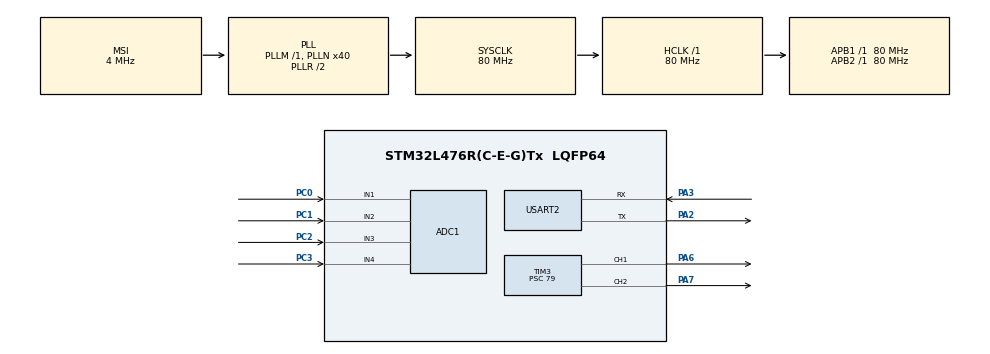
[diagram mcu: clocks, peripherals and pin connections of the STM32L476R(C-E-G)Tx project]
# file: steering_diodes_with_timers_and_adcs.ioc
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ADC1.Channel-0\#ChannelRegularConversion=ADC_CHANNEL_1
ADC1.Channel-1\#ChannelRegularConversion=ADC_CHANNEL_2
ADC1.Channel-2\#ChannelRegularConversion=ADC_CHANNEL_3
ADC1.Channel-3\#ChannelRegularConversion=ADC_CHANNEL_4
ADC1.ContinuousConvMode=ENABLE
ADC1.DMAContinuousRequests=ENABLE
ADC1.NbrOfConversion=4
ADC1.NbrOfConversionFlag=1
ADC1.OffsetNumber-0\#ChannelRegularConversion=ADC_OFFSET_NONE
ADC1.OffsetNumber-1\#ChannelRegularConversion=ADC_OFFSET_NONE
ADC1.OffsetNumber-2\#ChannelRegularConversion=ADC_OFFSET_NONE
ADC1.OffsetNumber-3\#ChannelRegularConversion=ADC_OFFSET_NONE
ADC1.OversamplingMode=ENABLE
ADC1.Rank-0\#ChannelRegularConversion=1
ADC1.Rank-1\#ChannelRegularConversion=2
ADC1.Rank-2\#ChannelRegularConversion=3
ADC1.Rank-3\#ChannelRegularConversion=4
ADC1.Ratio=ADC_OVERSAMPLING_RATIO_16
ADC1.RightBitShift=ADC_RIGHTBITSHIFT_4
ADC1.SamplingTime-0\#ChannelRegularConversion=ADC_SAMPLETIME_640CYCLES_5
ADC1.SamplingTime-1\#ChannelRegularConversion=ADC_SAMPLETIME_640CYCLES_5
ADC1.SamplingTime-2\#ChannelRegularConversion=ADC_SAMPLETIME_640CYCLES_5
ADC1.SamplingTime-3\#ChannelRegularConversion=ADC_SAMPLETIME_640CYCLES_5
ADC1.master=1
Dma.ADC1.0.Direction=DMA_PERIPH_TO_MEMORY
Dma.ADC1.0.Instance=DMA1_Channel1
Dma.ADC1.0.MemDataAlignment=DMA_MDATAALIGN_HALFWORD
Dma.ADC1.0.MemInc=DMA_MINC_ENABLE
Dma.ADC1.0.Mode=DMA_CIRCULAR
Dma.ADC1.0.PeriphDataAlignment=DMA_PDATAALIGN_HALFWORD
Dma.ADC1.0.PeriphInc=DMA_PINC_DISABLE
Dma.ADC1.0.Priority=DMA_PRIORITY_LOW
Dma.Request0=ADC1
Mcu.Family=STM32L4
Mcu.Name=STM32L476R(C-E-G)Tx
Mcu.Package=LQFP64
NVIC.PriorityGroup=NVIC_PRIORITYGROUP_4
PA13\ (JTMS-SWDIO).Mode=Serial_Wire
PA13\ (JTMS-SWDIO).Signal=SYS_JTMS-SWDIO
PA14\ (JTCK-SWCLK).Mode=Serial_Wire
PA14\ (JTCK-SWCLK).Signal=SYS_JTCK-SWCLK
PA2.Mode=Asynchronous
PA2.Signal=USART2_TX
PA3.Mode=Asynchronous
PA3.Signal=USART2_RX
PA6.Signal=S_TIM3_CH1
PA7.Signal=S_TIM3_CH2
PC0.Signal=ADCx_IN1
PC1.Signal=ADCx_IN2
PC2.Signal=ADCx_IN3
PC3.Signal=ADCx_IN4
ProjectManager.HeapSize=0x200
ProjectManager.StackSize=0x400
ProjectManager.TargetToolchain=STM32CubeIDE
RCC.ADCFreq_Value=32000000
RCC.AHBFreq_Value=80000000
RCC.APB1Freq_Value=80000000
RCC.APB1TimFreq_Value=80000000
RCC.APB2Freq_Value=80000000
RCC.APB2TimFreq_Value=80000000
RCC.CortexFreq_Value=80000000
RCC.HCLKFreq_Value=80000000
RCC.HSE_VALUE=8000000
RCC.HSI_VALUE=16000000
RCC.LSE_VALUE=32768
RCC.MSI_VALUE=4000000
RCC.PLLN=40
RCC.PLLSAI1N=16
RCC.SYSCLKFreq_VALUE=80000000
RCC.SYSCLKSource=RCC_SYSCLKSOURCE_PLLCLK
RCC.USBFreq_Value=32000000
RCC.VCOOutputFreq_Value=160000000
SH.ADCx_IN1.0=ADC1_IN1,IN1-Single-Ended
SH.ADCx_IN2.0=ADC1_IN2,IN2-Single-Ended
SH.ADCx_IN3.0=ADC1_IN3,IN3-Single-Ended
SH.ADCx_IN4.0=ADC1_IN4,IN4-Single-Ended
SH.S_TIM3_CH1.0=TIM3_CH1,PWM Generation1 CH1
SH.S_TIM3_CH2.0=TIM3_CH2,PWM Generation2 CH2
TIM3.Channel-PWM\ Generation1\ CH1=TIM_CHANNEL_1
TIM3.Channel-PWM\ Generation2\ CH2=TIM_CHANNEL_2
TIM3.Period=9999
TIM3.Prescaler=79
USART2.VirtualMode-Asynchronous=VM_ASYNC
VP_TIM3_VS_ClockSourceINT.Mode=Internal
board=custom

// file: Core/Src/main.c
/* USER CODE BEGIN Header */
/**
  ******************************************************************************
  * @file           : main.c
  * @brief          : Main program body
  ******************************************************************************
  * @attention
  *
  * Copyright (c) 2023 STMicroelectronics.
  * All rights reserved.
  *
  * This software is licensed under terms that can be found in the LICENSE file
  * in the root directory of this software component.
  * If no LICENSE file comes with this software, it is provided AS-IS.
  *
  ******************************************************************************
  */
/* USER CODE END Header */
#include "main.h"

/* USER CODE BEGIN Includes */
#include <stdio.h>
#include <math.h>
/* USER CODE END Includes */

/* USER CODE BEGIN PD */
	//	THIS DEFINE IS USED TO SET THE DEFAULT BRIGHTNESS OF DIODES
#define LVL 60.0
/* USER CODE END PD */

ADC_HandleTypeDef hadc1;
DMA_HandleTypeDef hdma_adc1;

TIM_HandleTypeDef htim3;

UART_HandleTypeDef huart2;

/* USER CODE BEGIN PV */
	//	VAL ARRAY HAS VALUES FROM ALL CHANNELS OF ADC1
volatile static uint16_t val[4] = {0};

/* USER CODE END PV */

void SystemClock_Config(void);
static void MX_GPIO_Init(void);
static void MX_DMA_Init(void);
static void MX_TIM3_Init(void);
static void MX_USART2_UART_Init(void);
static void MX_ADC1_Init(void);

/* USER CODE BEGIN 0 */

//	FUNC WHICH ENABLES WRITING PRINTF ON UART
int __io_putchar(int ch)
{
  if (ch == '\n') {
    __io_putchar('\r');
  }

  HAL_UART_Transmit(&huart2, (uint8_t*)&ch, 1, HAL_MAX_DELAY);

  return 1;
}

//	FUNC WHICH CALCULATES BRIGHTNESS OF DIODE
float calc_pwm(float val)
{
    const float k = 0.13f;
    const float x0 = 70.0f;
    return 10000.0f / (1.0f + exp(-k * (val - x0)));
}
/* USER CODE END 0 */

int main(void)
{

  /* MCU Configuration--------------------------------------------------------*/
  /* Reset of all peripherals, Initializes the Flash interface and the Systick. */  HAL_Init();

  /* Configure the system clock */
  SystemClock_Config();

  /* Initialize all configured peripherals */
  MX_GPIO_Init();
  MX_DMA_Init();
  MX_TIM3_Init();
  MX_USART2_UART_Init();
  MX_ADC1_Init();

  /* Infinite loop */
  /* USER CODE BEGIN WHILE */

  //	CALIBRATING OF ADC1
  HAL_ADCEx_Calibration_Start(&hadc1, ADC_SINGLE_ENDED);

  //	ACTIVATING DMA WHICH SAVES MEASURED VALUE ON ADC1 TO FREQ VAR
  HAL_ADC_Start_DMA(&hadc1, (uint32_t*)val, 4);

  //	SETTING UP TIMER 3 WITH PWM CHANNELS
  HAL_TIM_Base_Start(&htim3);
  HAL_TIM_PWM_Start(&htim3, TIM_CHANNEL_1);
  HAL_TIM_PWM_Start(&htim3, TIM_CHANNEL_2);

  //	CREATING VARIABLE WHICH WILL BE USED IN SIN FUNC
  float counter = 0.0;
  float pwm_level = 0.0;

  //	CREATING FLAGS FOR JOYSTICK FOR X AND Y AXIS
  int x_flag = 0;
  int y_flag = 0;

  while (1)
  {

	  //	STEERING JOYSTICK ON X AXIS
	  if((int)val[2]<1970 && x_flag==0){
		  x_flag = 1;
		  printf("LEFT\n");
	  }
	  else if((int)val[2]>1980 && x_flag==1){
		  x_flag = 0;
		  printf("RIGHT\n");
	  }

	  //	STEERING JOYSTICK ON Y AXIS
	  if((int)val[3]<2010 && y_flag==0){
		  y_flag = 1;
		  printf("UP\n");
	  }
	  else if((int)val[3]>2030 && y_flag==1){
		  y_flag = 0;
		  printf("DOWN\n");
	  }

	  //	IF STATEMENT IS USED TO ENABLE FREQ EQUAL 0
	  if ((float)val[0]<100.0){
		  pwm_level = 0;
	  }
	  else{
		  //	CREATING SIN WAVE FOR DIODES (WHICH CHANGES PWM LEVEL) (CEIL IS USED TO SMOOTH DIODES BLINKING)
		  pwm_level = (LVL-((float)val[1]/100.0)) * sin(ceil(((float)val[0]/100.0)) * (counter / 100.0));
	  }

	  //	CHANGING PWM LEVELS IN TIMER 3
	  __HAL_TIM_SET_COMPARE(&htim3, TIM_CHANNEL_1, calc_pwm(pwm_level));
	  __HAL_TIM_SET_COMPARE(&htim3, TIM_CHANNEL_2, calc_pwm(pwm_level));

	  HAL_Delay(10);
	  counter++;

    /* USER CODE END WHILE */

  }
}

void SystemClock_Config(void)
{
  RCC_OscInitTypeDef RCC_OscInitStruct = {0};
  RCC_ClkInitTypeDef RCC_ClkInitStruct = {0};

  /** Configure the main internal regulator output voltage
  */
  if (HAL_PWREx_ControlVoltageScaling(PWR_REGULATOR_VOLTAGE_SCALE1) != HAL_OK)
  {
    Error_Handler();
  }

  /** Initializes the RCC Oscillators according to the specified parameters
  * in the RCC_OscInitTypeDef structure.
  */
  RCC_OscInitStruct.OscillatorType = RCC_OSCILLATORTYPE_MSI;
  RCC_OscInitStruct.MSIState = RCC_MSI_ON;
  RCC_OscInitStruct.MSICalibrationValue = 0;
  RCC_OscInitStruct.MSIClockRange = RCC_MSIRANGE_6;
  RCC_OscInitStruct.PLL.PLLState = RCC_PLL_ON;
  RCC_OscInitStruct.PLL.PLLSource = RCC_PLLSOURCE_MSI;
  RCC_OscInitStruct.PLL.PLLM = 1;
  RCC_OscInitStruct.PLL.PLLN = 40;
  RCC_OscInitStruct.PLL.PLLP = RCC_PLLP_DIV7;
  RCC_OscInitStruct.PLL.PLLQ = RCC_PLLQ_DIV2;
  RCC_OscInitStruct.PLL.PLLR = RCC_PLLR_DIV2;
  if (HAL_RCC_OscConfig(&RCC_OscInitStruct) != HAL_OK)
  {
    Error_Handler();
  }

  /** Initializes the CPU, AHB and APB buses clocks
  */
  RCC_ClkInitStruct.ClockType = RCC_CLOCKTYPE_HCLK|RCC_CLOCKTYPE_SYSCLK
                              |RCC_CLOCKTYPE_PCLK1|RCC_CLOCKTYPE_PCLK2;
  RCC_ClkInitStruct.SYSCLKSource = RCC_SYSCLKSOURCE_PLLCLK;
  RCC_ClkInitStruct.AHBCLKDivider = RCC_SYSCLK_DIV1;
  RCC_ClkInitStruct.APB1CLKDivider = RCC_HCLK_DIV1;
  RCC_ClkInitStruct.APB2CLKDivider = RCC_HCLK_DIV1;

  if (HAL_RCC_ClockConfig(&RCC_ClkInitStruct, FLASH_LATENCY_4) != HAL_OK)
  {
    Error_Handler();
  }
}

static void MX_ADC1_Init(void)
{

  ADC_MultiModeTypeDef multimode = {0};
  ADC_ChannelConfTypeDef sConfig = {0};

  /** Common config
  */
  hadc1.Instance = ADC1;
  hadc1.Init.ClockPrescaler = ADC_CLOCK_ASYNC_DIV1;
  hadc1.Init.Resolution = ADC_RESOLUTION_12B;
  hadc1.Init.DataAlign = ADC_DATAALIGN_RIGHT;
  hadc1.Init.ScanConvMode = ADC_SCAN_ENABLE;
  hadc1.Init.EOCSelection = ADC_EOC_SINGLE_CONV;
  hadc1.Init.LowPowerAutoWait = DISABLE;
  hadc1.Init.ContinuousConvMode = ENABLE;
  hadc1.Init.NbrOfConversion = 4;
  hadc1.Init.DiscontinuousConvMode = DISABLE;
  hadc1.Init.ExternalTrigConv = ADC_SOFTWARE_START;
  hadc1.Init.ExternalTrigConvEdge = ADC_EXTERNALTRIGCONVEDGE_NONE;
  hadc1.Init.DMAContinuousRequests = ENABLE;
  hadc1.Init.Overrun = ADC_OVR_DATA_PRESERVED;
  hadc1.Init.OversamplingMode = ENABLE;
  hadc1.Init.Oversampling.Ratio = ADC_OVERSAMPLING_RATIO_16;
  hadc1.Init.Oversampling.RightBitShift = ADC_RIGHTBITSHIFT_4;
  hadc1.Init.Oversampling.TriggeredMode = ADC_TRIGGEREDMODE_SINGLE_TRIGGER;
  hadc1.Init.Oversampling.OversamplingStopReset = ADC_REGOVERSAMPLING_CONTINUED_MODE;
  if (HAL_ADC_Init(&hadc1) != HAL_OK)
  {
    Error_Handler();
  }

  /** Configure the ADC multi-mode
  */
  multimode.Mode = ADC_MODE_INDEPENDENT;
  if (HAL_ADCEx_MultiModeConfigChannel(&hadc1, &multimode) != HAL_OK)
  {
    Error_Handler();
  }

  /** Configure Regular Channel
  */
  sConfig.Channel = ADC_CHANNEL_1;
  sConfig.Rank = ADC_REGULAR_RANK_1;
  sConfig.SamplingTime = ADC_SAMPLETIME_640CYCLES_5;
  sConfig.SingleDiff = ADC_SINGLE_ENDED;
  sConfig.OffsetNumber = ADC_OFFSET_NONE;
  sConfig.Offset = 0;
  if (HAL_ADC_ConfigChannel(&hadc1, &sConfig) != HAL_OK)
  {
    Error_Handler();
  }

  /** Configure Regular Channel
  */
  sConfig.Channel = ADC_CHANNEL_2;
  sConfig.Rank = ADC_REGULAR_RANK_2;
  if (HAL_ADC_ConfigChannel(&hadc1, &sConfig) != HAL_OK)
  {
    Error_Handler();
  }

  /** Configure Regular Channel
  */
  sConfig.Channel = ADC_CHANNEL_3;
  sConfig.Rank = ADC_REGULAR_RANK_3;
  if (HAL_ADC_ConfigChannel(&hadc1, &sConfig) != HAL_OK)
  {
    Error_Handler();
  }

  /** Configure Regular Channel
  */
  sConfig.Channel = ADC_CHANNEL_4;
  sConfig.Rank = ADC_REGULAR_RANK_4;
  if (HAL_ADC_ConfigChannel(&hadc1, &sConfig) != HAL_OK)
  {
    Error_Handler();
  }

}

static void MX_TIM3_Init(void)
{

  TIM_ClockConfigTypeDef sClockSourceConfig = {0};
  TIM_MasterConfigTypeDef sMasterConfig = {0};
  TIM_OC_InitTypeDef sConfigOC = {0};

  htim3.Instance = TIM3;
  htim3.Init.Prescaler = 79;
  htim3.Init.CounterMode = TIM_COUNTERMODE_UP;
  htim3.Init.Period = 9999;
  htim3.Init.ClockDivision = TIM_CLOCKDIVISION_DIV1;
  htim3.Init.AutoReloadPreload = TIM_AUTORELOAD_PRELOAD_DISABLE;
  if (HAL_TIM_Base_Init(&htim3) != HAL_OK)
  {
    Error_Handler();
  }
  sClockSourceConfig.ClockSource = TIM_CLOCKSOURCE_INTERNAL;
  if (HAL_TIM_ConfigClockSource(&htim3, &sClockSourceConfig) != HAL_OK)
  {
    Error_Handler();
  }
  if (HAL_TIM_PWM_Init(&htim3) != HAL_OK)
  {
    Error_Handler();
  }
  sMasterConfig.MasterOutputTrigger = TIM_TRGO_RESET;
  sMasterConfig.MasterSlaveMode = TIM_MASTERSLAVEMODE_DISABLE;
  if (HAL_TIMEx_MasterConfigSynchronization(&htim3, &sMasterConfig) != HAL_OK)
  {
    Error_Handler();
  }
  sConfigOC.OCMode = TIM_OCMODE_PWM1;
  sConfigOC.Pulse = 0;
  sConfigOC.OCPolarity = TIM_OCPOLARITY_HIGH;
  sConfigOC.OCFastMode = TIM_OCFAST_DISABLE;
  if (HAL_TIM_PWM_ConfigChannel(&htim3, &sConfigOC, TIM_CHANNEL_1) != HAL_OK)
  {
    Error_Handler();
  }
  if (HAL_TIM_PWM_ConfigChannel(&htim3, &sConfigOC, TIM_CHANNEL_2) != HAL_OK)
  {
    Error_Handler();
  }
  HAL_TIM_MspPostInit(&htim3);

}

static void MX_USART2_UART_Init(void)
{

  huart2.Instance = USART2;
  huart2.Init.BaudRate = 115200;
  huart2.Init.WordLength = UART_WORDLENGTH_8B;
  huart2.Init.StopBits = UART_STOPBITS_1;
  huart2.Init.Parity = UART_PARITY_NONE;
  huart2.Init.Mode = UART_MODE_TX_RX;
  huart2.Init.HwFlowCtl = UART_HWCONTROL_NONE;
  huart2.Init.OverSampling = UART_OVERSAMPLING_16;
  huart2.Init.OneBitSampling = UART_ONE_BIT_SAMPLE_DISABLE;
  huart2.AdvancedInit.AdvFeatureInit = UART_ADVFEATURE_NO_INIT;
  if (HAL_UART_Init(&huart2) != HAL_OK)
  {
    Error_Handler();
  }

}

static void MX_DMA_Init(void)
{

  /* DMA controller clock enable */
  __HAL_RCC_DMA1_CLK_ENABLE();

}

static void MX_GPIO_Init(void)
{

  /* GPIO Ports Clock Enable */
  __HAL_RCC_GPIOC_CLK_ENABLE();
  __HAL_RCC_GPIOA_CLK_ENABLE();

}

void Error_Handler(void)
{
  __disable_irq();
  while (1)
  {
  }
}
